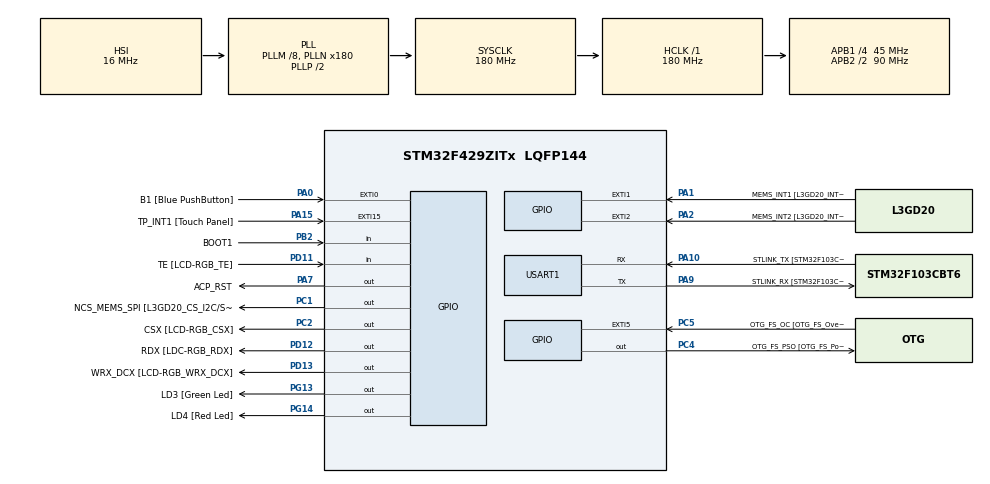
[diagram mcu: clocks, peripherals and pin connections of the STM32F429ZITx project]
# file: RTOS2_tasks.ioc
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FREERTOS.INCLUDE_vTaskDelayUntil=1
FREERTOS.Tasks01=defaultTask,0,128,StartDefaultTask,Default,NULL,Dynamic,NULL,NULL
Mcu.Family=STM32F4
Mcu.Name=STM32F429ZITx
Mcu.Package=LQFP144
NVIC.PriorityGroup=NVIC_PRIORITYGROUP_4
NVIC.TIM6_DAC_IRQn=true\:15\:0\:false\:false\:true\:false\:false\:true\:true
NVIC.TimeBase=TIM6_DAC_IRQn
NVIC.TimeBaseIP=TIM6
PA0/WKUP.GPIO_Label=B1 [Blue PushButton]
PA0/WKUP.GPIO_ModeDefaultEXTI=GPIO_MODE_EVT_RISING
PA0/WKUP.GPIO_PuPd=GPIO_NOPULL
PA0/WKUP.Signal=GPXTI0
PA1.GPIO_Label=MEMS_INT1 [L3GD20_INT1]
PA1.GPIO_ModeDefaultEXTI=GPIO_MODE_EVT_RISING
PA1.GPIO_PuPd=GPIO_NOPULL
PA1.Signal=GPXTI1
PA10.GPIO_Label=STLINK_TX [STM32F103CBT6_PA2]
PA10.Mode=Asynchronous
PA10.Signal=USART1_RX
PA11.GPIO_Label=R4
PA11.GPIO_Mode=GPIO_MODE_AF_PP
PA11.GPIO_PuPd=GPIO_NOPULL
PA11.GPIO_Speed=GPIO_SPEED_FREQ_LOW
PA11.Signal=LTDC_R4
PA12.GPIO_Label=R5
PA12.GPIO_Mode=GPIO_MODE_AF_PP
PA12.GPIO_PuPd=GPIO_NOPULL
PA12.GPIO_Speed=GPIO_SPEED_FREQ_LOW
PA12.Signal=LTDC_R5
PA13.GPIO_Label=SWDIO
PA13.Signal=SYS_JTMS-SWDIO
PA14.GPIO_Label=SWCLK
PA14.Signal=SYS_JTCK-SWCLK
PA15.GPIO_Label=TP_INT1 [Touch Panel]
PA15.GPIO_ModeDefaultEXTI=GPIO_MODE_EVT_RISING
PA15.GPIO_PuPd=GPIO_NOPULL
PA15.Signal=GPXTI15
PA2.GPIO_Label=MEMS_INT2 [L3GD20_INT2]
PA2.GPIO_ModeDefaultEXTI=GPIO_MODE_EVT_RISING
PA2.GPIO_PuPd=GPIO_NOPULL
PA2.Signal=GPXTI2
PA3.GPIO_Label=B5
PA3.GPIO_Mode=GPIO_MODE_AF_PP
PA3.GPIO_PuPd=GPIO_NOPULL
PA3.GPIO_Speed=GPIO_SPEED_FREQ_LOW
PA3.Signal=LTDC_B5
PA4.GPIO_Label=VSYNC
PA4.GPIO_Mode=GPIO_MODE_AF_PP
PA4.GPIO_PuPd=GPIO_NOPULL
PA4.GPIO_Speed=GPIO_SPEED_FREQ_LOW
PA4.Signal=LTDC_VSYNC
PA6.GPIO_Label=G2
PA6.GPIO_Mode=GPIO_MODE_AF_PP
PA6.GPIO_PuPd=GPIO_NOPULL
PA6.GPIO_Speed=GPIO_SPEED_FREQ_LOW
PA6.Signal=LTDC_G2
PA7.GPIO_Label=ACP_RST
PA7.GPIO_Mode=GPIO_MODE_OUTPUT_PP
PA7.GPIO_PuPd=GPIO_NOPULL
PA7.GPIO_Speed=GPIO_SPEED_FREQ_LOW
PA7.Signal=GPIO_Output
PA8.GPIO_Label=I2C3_SCL [ACP/RF_SCL]
PA8.GPIO_Mode=GPIO_MODE_AF_OD
PA8.GPIO_PuPd=GPIO_NOPULL
PA8.GPIO_Speed=GPIO_SPEED_FREQ_LOW
PA8.Signal=I2C3_SCL
PA9.GPIO_Label=STLINK_RX [STM32F103CBT6_PA3]
PA9.Mode=Asynchronous
PA9.Signal=USART1_TX
PB0.GPIO_Label=R3
PB0.GPIO_Mode=GPIO_MODE_AF_PP
PB0.GPIO_PuPd=GPIO_NOPULL
PB0.GPIO_Speed=GPIO_SPEED_FREQ_LOW
PB0.Signal=LTDC_R3
PB1.GPIO_Label=R6
PB1.GPIO_Mode=GPIO_MODE_AF_PP
PB1.GPIO_PuPd=GPIO_NOPULL
PB1.GPIO_Speed=GPIO_SPEED_FREQ_LOW
PB1.Signal=LTDC_R6
PB10.GPIO_Label=G4
PB10.GPIO_Mode=GPIO_MODE_AF_PP
PB10.GPIO_PuPd=GPIO_NOPULL
PB10.GPIO_Speed=GPIO_SPEED_FREQ_LOW
PB10.Signal=LTDC_G4
PB11.GPIO_Label=G5
PB11.GPIO_Mode=GPIO_MODE_AF_PP
PB11.GPIO_PuPd=GPIO_NOPULL
PB11.GPIO_Speed=GPIO_SPEED_FREQ_LOW
PB11.Signal=LTDC_G5
PB12.GPIO_Label=OTG_HS_ID
PB12.GPIO_Mode=GPIO_MODE_AF_PP
PB12.GPIO_PuPd=GPIO_NOPULL
PB12.GPIO_Speed=GPIO_SPEED_FREQ_LOW
PB12.Signal=USB_OTG_HS_ID
PB13.GPIO_Label=VBUS_HS
PB13.GPIO_Mode=GPIO_MODE_INPUT
PB13.GPIO_PuPd=GPIO_NOPULL
PB13.Signal=USB_OTG_HS_VBUS
PB14.GPIO_Label=OTG_HS_DM
PB14.GPIO_Mode=GPIO_MODE_AF_PP
PB14.GPIO_PuPd=GPIO_NOPULL
PB14.GPIO_Speed=GPIO_SPEED_FREQ_LOW
PB14.Signal=USB_OTG_HS_DM
PB15.GPIO_Label=OTG_HS_DP
PB15.GPIO_Mode=GPIO_MODE_AF_PP
PB15.GPIO_PuPd=GPIO_NOPULL
PB15.GPIO_Speed=GPIO_SPEED_FREQ_LOW
PB15.Signal=USB_OTG_HS_DP
PB2/BOOT1.GPIO_Label=BOOT1
PB2/BOOT1.GPIO_Mode=GPIO_MODE_INPUT
PB2/BOOT1.GPIO_PuPd=GPIO_NOPULL
PB2/BOOT1.Signal=GPIO_Input
PB5.GPIO_Label=SDCKE1
PB5.GPIO_Mode=GPIO_MODE_AF_PP
PB5.GPIO_PuPd=GPIO_NOPULL
PB5.GPIO_Speed=GPIO_SPEED_FREQ_VERY_HIGH
PB5.Signal=FMC_SDCKE1
PB6.GPIO_Label=SDNE1 [SDRAM_CS]
PB6.GPIO_Mode=GPIO_MODE_AF_PP
PB6.GPIO_PuPd=GPIO_NOPULL
PB6.GPIO_Speed=GPIO_SPEED_FREQ_VERY_HIGH
PB6.Signal=FMC_SDNE1
PB8.GPIO_Label=B6
PB8.GPIO_Mode=GPIO_MODE_AF_PP
PB8.GPIO_PuPd=GPIO_NOPULL
PB8.GPIO_Speed=GPIO_SPEED_FREQ_LOW
PB8.Signal=LTDC_B6
PB9.GPIO_Label=B7
PB9.GPIO_Mode=GPIO_MODE_AF_PP
PB9.GPIO_PuPd=GPIO_NOPULL
PB9.GPIO_Speed=GPIO_SPEED_FREQ_LOW
PB9.Signal=LTDC_B7
PC0.GPIO_Label=SDNWE
PC0.GPIO_Mode=GPIO_MODE_AF_PP
PC0.GPIO_PuPd=GPIO_NOPULL
PC0.GPIO_Speed=GPIO_SPEED_FREQ_VERY_HIGH
PC0.Signal=FMC_SDNWE
PC1.GPIO_Label=NCS_MEMS_SPI [L3GD20_CS_I2C/SPI]
PC1.GPIO_Mode=GPIO_MODE_OUTPUT_PP
PC1.GPIO_PuPd=GPIO_NOPULL
PC1.GPIO_Speed=GPIO_SPEED_FREQ_LOW
PC1.Signal=GPIO_Output
PC10.GPIO_Label=R2
PC10.GPIO_Mode=GPIO_MODE_AF_PP
PC10.GPIO_PuPd=GPIO_NOPULL
PC10.GPIO_Speed=GPIO_SPEED_FREQ_LOW
PC10.Signal=LTDC_R2
PC14/OSC32_IN.GPIO_Label=PC14-OSC32_IN
PC14/OSC32_IN.Signal=RCC_OSC32_IN
PC15/OSC32_OUT.GPIO_Label=PC15-OSC32_OUT
PC15/OSC32_OUT.Signal=RCC_OSC32_OUT
PC2.GPIO_Label=CSX [LCD-RGB_CSX]
PC2.GPIO_Mode=GPIO_MODE_OUTPUT_PP
PC2.GPIO_PuPd=GPIO_NOPULL
PC2.GPIO_Speed=GPIO_SPEED_FREQ_LOW
PC2.Signal=GPIO_Output
PC4.GPIO_Label=OTG_FS_PSO [OTG_FS_PowerSwitchOn]
PC4.GPIO_Mode=GPIO_MODE_OUTPUT_PP
PC4.GPIO_PuPd=GPIO_NOPULL
PC4.GPIO_Speed=GPIO_SPEED_FREQ_LOW
PC4.Signal=GPIO_Output
PC5.GPIO_Label=OTG_FS_OC [OTG_FS_OverCurrent]
PC5.GPIO_ModeDefaultEXTI=GPIO_MODE_EVT_RISING
PC5.Signal=GPXTI5
PC6.GPIO_Label=HSYNC
PC6.GPIO_Mode=GPIO_MODE_AF_PP
PC6.GPIO_PuPd=GPIO_NOPULL
PC6.GPIO_Speed=GPIO_SPEED_FREQ_LOW
PC6.Signal=LTDC_HSYNC
PC7.GPIO_Label=G6
PC7.GPIO_Mode=GPIO_MODE_AF_PP
PC7.GPIO_PuPd=GPIO_NOPULL
PC7.GPIO_Speed=GPIO_SPEED_FREQ_LOW
PC7.Signal=LTDC_G6
PC9.GPIO_Label=I2C3_SDA [ACP/RF_SDA]
PC9.GPIO_Mode=GPIO_MODE_AF_OD
PC9.GPIO_PuPd=GPIO_NOPULL
PC9.GPIO_Speed=GPIO_SPEED_FREQ_LOW
PC9.Signal=I2C3_SDA
PD0.GPIO_Label=D2
PD0.GPIO_Mode=GPIO_MODE_AF_PP
PD0.GPIO_PuPd=GPIO_NOPULL
PD0.GPIO_Speed=GPIO_SPEED_FREQ_VERY_HIGH
PD0.Signal=FMC_D2_DA2
PD1.GPIO_Label=D3
PD1.GPIO_Mode=GPIO_MODE_AF_PP
PD1.GPIO_PuPd=GPIO_NOPULL
PD1.GPIO_Speed=GPIO_SPEED_FREQ_VERY_HIGH
PD1.Signal=FMC_D3_DA3
PD10.GPIO_Label=D15
PD10.GPIO_Mode=GPIO_MODE_AF_PP
PD10.GPIO_PuPd=GPIO_NOPULL
PD10.GPIO_Speed=GPIO_SPEED_FREQ_VERY_HIGH
PD10.Signal=FMC_D15_DA15
PD11.GPIO_Label=TE [LCD-RGB_TE]
PD11.GPIO_Mode=GPIO_MODE_INPUT
PD11.GPIO_PuPd=GPIO_NOPULL
PD11.Signal=GPIO_Input
PD12.GPIO_Label=RDX [LDC-RGB_RDX]
PD12.GPIO_Mode=GPIO_MODE_OUTPUT_PP
PD12.GPIO_PuPd=GPIO_NOPULL
PD12.GPIO_Speed=GPIO_SPEED_FREQ_LOW
PD12.Signal=GPIO_Output
PD13.GPIO_Label=WRX_DCX [LCD-RGB_WRX_DCX]
PD13.GPIO_Mode=GPIO_MODE_OUTPUT_PP
PD13.GPIO_PuPd=GPIO_NOPULL
PD13.GPIO_Speed=GPIO_SPEED_FREQ_LOW
PD13.Signal=GPIO_Output
PD14.GPIO_Label=D0
PD14.GPIO_Mode=GPIO_MODE_AF_PP
PD14.GPIO_PuPd=GPIO_NOPULL
PD14.GPIO_Speed=GPIO_SPEED_FREQ_VERY_HIGH
PD14.Signal=FMC_D0_DA0
PD15.GPIO_Label=D1
PD15.GPIO_Mode=GPIO_MODE_AF_PP
PD15.GPIO_PuPd=GPIO_NOPULL
PD15.GPIO_Speed=GPIO_SPEED_FREQ_VERY_HIGH
PD15.Signal=FMC_D1_DA1
PD3.GPIO_Label=G7
PD3.GPIO_Mode=GPIO_MODE_AF_PP
PD3.GPIO_PuPd=GPIO_NOPULL
PD3.GPIO_Speed=GPIO_SPEED_FREQ_LOW
PD3.Signal=LTDC_G7
PD6.GPIO_Label=B2
PD6.GPIO_Mode=GPIO_MODE_AF_PP
PD6.GPIO_PuPd=GPIO_NOPULL
PD6.GPIO_Speed=GPIO_SPEED_FREQ_LOW
PD6.Signal=LTDC_B2
PD8.GPIO_Label=D13
PD8.GPIO_Mode=GPIO_MODE_AF_PP
PD8.GPIO_PuPd=GPIO_NOPULL
PD8.GPIO_Speed=GPIO_SPEED_FREQ_VERY_HIGH
PD8.Signal=FMC_D13_DA13
PD9.GPIO_Label=D14
PD9.GPIO_Mode=GPIO_MODE_AF_PP
PD9.GPIO_PuPd=GPIO_NOPULL
PD9.GPIO_Speed=GPIO_SPEED_FREQ_VERY_HIGH
PD9.Signal=FMC_D14_DA14
PE0.GPIO_Label=NBL0 [SDRAM_LDQM]
PE0.GPIO_Mode=GPIO_MODE_AF_PP
PE0.GPIO_PuPd=GPIO_NOPULL
PE0.GPIO_Speed=GPIO_SPEED_FREQ_VERY_HIGH
PE0.Signal=FMC_NBL0
PE1.GPIO_Label=NBL1 [SDRAM_UDQM]
PE1.GPIO_Mode=GPIO_MODE_AF_PP
PE1.GPIO_PuPd=GPIO_NOPULL
PE1.GPIO_Speed=GPIO_SPEED_FREQ_VERY_HIGH
PE1.Signal=FMC_NBL1
PE10.GPIO_Label=D7
PE10.GPIO_Mode=GPIO_MODE_AF_PP
PE10.GPIO_PuPd=GPIO_NOPULL
PE10.GPIO_Speed=GPIO_SPEED_FREQ_VERY_HIGH
PE10.Signal=FMC_D7_DA7
PE11.GPIO_Label=D8
PE11.GPIO_Mode=GPIO_MODE_AF_PP
PE11.GPIO_PuPd=GPIO_NOPULL
PE11.GPIO_Speed=GPIO_SPEED_FREQ_VERY_HIGH
PE11.Signal=FMC_D8_DA8
PE12.GPIO_Label=D9
PE12.GPIO_Mode=GPIO_MODE_AF_PP
PE12.GPIO_PuPd=GPIO_NOPULL
PE12.GPIO_Speed=GPIO_SPEED_FREQ_VERY_HIGH
PE12.Signal=FMC_D9_DA9
PE13.GPIO_Label=D10
PE13.GPIO_Mode=GPIO_MODE_AF_PP
PE13.GPIO_PuPd=GPIO_NOPULL
PE13.GPIO_Speed=GPIO_SPEED_FREQ_VERY_HIGH
PE13.Signal=FMC_D10_DA10
PE14.GPIO_Label=D11
PE14.GPIO_Mode=GPIO_MODE_AF_PP
PE14.GPIO_PuPd=GPIO_NOPULL
PE14.GPIO_Speed=GPIO_SPEED_FREQ_VERY_HIGH
PE14.Signal=FMC_D11_DA11
PE15.GPIO_Label=D12
PE15.GPIO_Mode=GPIO_MODE_AF_PP
PE15.GPIO_PuPd=GPIO_NOPULL
PE15.GPIO_Speed=GPIO_SPEED_FREQ_VERY_HIGH
PE15.Signal=FMC_D12_DA12
PE7.GPIO_Label=D4
PE7.GPIO_Mode=GPIO_MODE_AF_PP
PE7.GPIO_PuPd=GPIO_NOPULL
PE7.GPIO_Speed=GPIO_SPEED_FREQ_VERY_HIGH
PE7.Signal=FMC_D4_DA4
PE8.GPIO_Label=D5
PE8.GPIO_Mode=GPIO_MODE_AF_PP
PE8.GPIO_PuPd=GPIO_NOPULL
PE8.GPIO_Speed=GPIO_SPEED_FREQ_VERY_HIGH
PE8.Signal=FMC_D5_DA5
PE9.GPIO_Label=D6
PE9.GPIO_Mode=GPIO_MODE_AF_PP
PE9.GPIO_PuPd=GPIO_NOPULL
PE9.GPIO_Speed=GPIO_SPEED_FREQ_VERY_HIGH
PE9.Signal=FMC_D6_DA6
PF0.GPIO_Label=A0
PF0.GPIO_Mode=GPIO_MODE_AF_PP
PF0.GPIO_PuPd=GPIO_NOPULL
PF0.GPIO_Speed=GPIO_SPEED_FREQ_VERY_HIGH
PF0.Signal=FMC_A0
PF1.GPIO_Label=A1
PF1.GPIO_Mode=GPIO_MODE_AF_PP
PF1.GPIO_PuPd=GPIO_NOPULL
PF1.GPIO_Speed=GPIO_SPEED_FREQ_VERY_HIGH
PF1.Signal=FMC_A1
PF10.GPIO_Label=ENABLE [LCD-RGB_ENABLE]
PF10.GPIO_Mode=GPIO_MODE_AF_PP
PF10.GPIO_PuPd=GPIO_NOPULL
PF10.GPIO_Speed=GPIO_SPEED_FREQ_LOW
PF10.Signal=LTDC_DE
PF11.GPIO_Label=SDNRAS
PF11.GPIO_Mode=GPIO_MODE_AF_PP
PF11.GPIO_PuPd=GPIO_NOPULL
PF11.GPIO_Speed=GPIO_SPEED_FREQ_VERY_HIGH
PF11.Signal=FMC_SDNRAS
PF12.GPIO_Label=A6
PF12.GPIO_Mode=GPIO_MODE_AF_PP
PF12.GPIO_PuPd=GPIO_NOPULL
PF12.GPIO_Speed=GPIO_SPEED_FREQ_VERY_HIGH
PF12.Signal=FMC_A6
PF13.GPIO_Label=A7
PF13.GPIO_Mode=GPIO_MODE_AF_PP
PF13.GPIO_PuPd=GPIO_NOPULL
PF13.GPIO_Speed=GPIO_SPEED_FREQ_VERY_HIGH
PF13.Signal=FMC_A7
PF14.GPIO_Label=A8
PF14.GPIO_Mode=GPIO_MODE_AF_PP
PF14.GPIO_PuPd=GPIO_NOPULL
PF14.GPIO_Speed=GPIO_SPEED_FREQ_VERY_HIGH
PF14.Signal=FMC_A8
PF15.GPIO_Label=A9
PF15.GPIO_Mode=GPIO_MODE_AF_PP
PF15.GPIO_PuPd=GPIO_NOPULL
PF15.GPIO_Speed=GPIO_SPEED_FREQ_VERY_HIGH
PF15.Signal=FMC_A9
PF2.GPIO_Label=A2
PF2.GPIO_Mode=GPIO_MODE_AF_PP
PF2.GPIO_PuPd=GPIO_NOPULL
PF2.GPIO_Speed=GPIO_SPEED_FREQ_VERY_HIGH
PF2.Signal=FMC_A2
PF3.GPIO_Label=A3
PF3.GPIO_Mode=GPIO_MODE_AF_PP
PF3.GPIO_PuPd=GPIO_NOPULL
PF3.GPIO_Speed=GPIO_SPEED_FREQ_VERY_HIGH
PF3.Signal=FMC_A3
PF4.GPIO_Label=A4
PF4.GPIO_Mode=GPIO_MODE_AF_PP
PF4.GPIO_PuPd=GPIO_NOPULL
PF4.GPIO_Speed=GPIO_SPEED_FREQ_VERY_HIGH
PF4.Signal=FMC_A4
PF5.GPIO_Label=A5
PF5.GPIO_Mode=GPIO_MODE_AF_PP
PF5.GPIO_PuPd=GPIO_NOPULL
PF5.GPIO_Speed=GPIO_SPEED_FREQ_VERY_HIGH
PF5.Signal=FMC_A5
PF7.GPIO_Label=SPI5_SCK [L3GD20_SCL/SPC]
PF7.GPIO_Mode=GPIO_MODE_AF_PP
PF7.GPIO_PuPd=GPIO_NOPULL
PF7.GPIO_Speed=GPIO_SPEED_FREQ_LOW
PF7.Signal=SPI5_SCK
PF8.GPIO_Label=SPI5_MISO [L3GD20_SDO]
PF8.GPIO_Mode=GPIO_MODE_AF_PP
PF8.GPIO_PuPd=GPIO_NOPULL
PF8.GPIO_Speed=GPIO_SPEED_FREQ_LOW
PF8.Signal=SPI5_MISO
PF9.GPIO_Label=SPI5_MOSI [L3GD20_SDA/SDI/SDO]
PF9.GPIO_Mode=GPIO_MODE_AF_PP
PF9.GPIO_PuPd=GPIO_NOPULL
PF9.GPIO_Speed=GPIO_SPEED_FREQ_LOW
PF9.Signal=SPI5_MOSI
PG0.GPIO_Label=A10
PG0.GPIO_Mode=GPIO_MODE_AF_PP
PG0.GPIO_PuPd=GPIO_NOPULL
PG0.GPIO_Speed=GPIO_SPEED_FREQ_VERY_HIGH
PG0.Signal=FMC_A10
PG1.GPIO_Label=A11
PG1.GPIO_Mode=GPIO_MODE_AF_PP
PG1.GPIO_PuPd=GPIO_NOPULL
PG1.GPIO_Speed=GPIO_SPEED_FREQ_VERY_HIGH
PG1.Signal=FMC_A11
PG10.GPIO_Label=G3
PG10.GPIO_Mode=GPIO_MODE_AF_PP
PG10.GPIO_PuPd=GPIO_NOPULL
PG10.GPIO_Speed=GPIO_SPEED_FREQ_LOW
PG10.Signal=LTDC_G3
PG11.GPIO_Label=B3
PG11.GPIO_Mode=GPIO_MODE_AF_PP
PG11.GPIO_PuPd=GPIO_NOPULL
PG11.GPIO_Speed=GPIO_SPEED_FREQ_LOW
PG11.Signal=LTDC_B3
PG12.GPIO_Label=B4
PG12.GPIO_Mode=GPIO_MODE_AF_PP
PG12.GPIO_PuPd=GPIO_NOPULL
PG12.GPIO_Speed=GPIO_SPEED_FREQ_LOW
PG12.Signal=LTDC_B4
PG13.GPIO_Label=LD3 [Green Led]
PG13.GPIO_Mode=GPIO_MODE_OUTPUT_PP
PG13.GPIO_PuPd=GPIO_NOPULL
PG13.GPIO_Speed=GPIO_SPEED_FREQ_LOW
PG13.Signal=GPIO_Output
PG14.GPIO_Label=LD4 [Red Led]
PG14.GPIO_Mode=GPIO_MODE_OUTPUT_PP
PG14.GPIO_PuPd=GPIO_NOPULL
PG14.GPIO_Speed=GPIO_SPEED_FREQ_LOW
PG14.Signal=GPIO_Output
PG15.GPIO_Label=SDNCAS
PG15.GPIO_Mode=GPIO_MODE_AF_PP
PG15.GPIO_PuPd=GPIO_NOPULL
PG15.GPIO_Speed=GPIO_SPEED_FREQ_VERY_HIGH
PG15.Signal=FMC_SDNCAS
PG4.GPIO_Label=BA0
PG4.GPIO_Mode=GPIO_MODE_AF_PP
PG4.GPIO_PuPd=GPIO_NOPULL
PG4.GPIO_Speed=GPIO_SPEED_FREQ_VERY_HIGH
PG4.Signal=FMC_A14_BA0
PG5.GPIO_Label=BA1
PG5.GPIO_Mode=GPIO_MODE_AF_PP
PG5.GPIO_PuPd=GPIO_NOPULL
PG5.GPIO_Speed=GPIO_SPEED_FREQ_VERY_HIGH
PG5.Signal=FMC_A15_BA1
PG6.GPIO_Label=R7
PG6.GPIO_Mode=GPIO_MODE_AF_PP
PG6.GPIO_PuPd=GPIO_NOPULL
PG6.GPIO_Speed=GPIO_SPEED_FREQ_LOW
PG6.Signal=LTDC_R7
PG7.GPIO_Label=DOTCLK [LCT-RGB_DOTCLK]
PG7.GPIO_Mode=GPIO_MODE_AF_PP
PG7.GPIO_PuPd=GPIO_NOPULL
PG7.GPIO_Speed=GPIO_SPEED_FREQ_LOW
PG7.Signal=LTDC_CLK
PG8.GPIO_Label=SDCLK
PG8.GPIO_Mode=GPIO_MODE_AF_PP
PG8.GPIO_PuPd=GPIO_NOPULL
PG8.GPIO_Speed=GPIO_SPEED_FREQ_VERY_HIGH
PG8.Signal=FMC_SDCLK
PH0/OSC_IN.GPIO_Label=PH0-OSC_IN
PH0/OSC_IN.Mode=HSE-External-Oscillator
PH0/OSC_IN.Signal=RCC_OSC_IN
PH1/OSC_OUT.GPIO_Label=PH1-OSC_OUT
PH1/OSC_OUT.Mode=HSE-External-Oscillator
PH1/OSC_OUT.Signal=RCC_OSC_OUT
ProjectManager.HeapSize=0x200
ProjectManager.StackSize=0x400
ProjectManager.TargetToolchain=STM32CubeIDE
RCC.48MHZClocksFreq_Value=51428571.428571425
RCC.AHBFreq_Value=180000000
RCC.APB1CLKDivider=RCC_HCLK_DIV4
RCC.APB1Freq_Value=45000000
RCC.APB1TimFreq_Value=90000000
RCC.APB2CLKDivider=RCC_HCLK_DIV2
RCC.APB2Freq_Value=90000000
RCC.APB2TimFreq_Value=180000000
RCC.CortexFreq_Value=180000000
RCC.HCLKFreq_Value=180000000
RCC.HSE_VALUE=8000000
RCC.HSI_VALUE=16000000
RCC.LSE_VALUE=32768
RCC.PLLM=8
RCC.PLLN=180
RCC.PLLQ=7
RCC.SYSCLKFreq_VALUE=180000000
RCC.SYSCLKSource=RCC_SYSCLKSOURCE_PLLCLK
RCC.VCOOutputFreq_Value=360000000
SH.FMC_A0.0=FMC_A0
SH.FMC_A1.0=FMC_A1
SH.FMC_A10.0=FMC_A10
SH.FMC_A11.0=FMC_A11
SH.FMC_A14_BA0.0=FMC_BA0
SH.FMC_A15_BA1.0=FMC_BA1
SH.FMC_A2.0=FMC_A2
SH.FMC_A3.0=FMC_A3
SH.FMC_A4.0=FMC_A4
SH.FMC_A5.0=FMC_A5
SH.FMC_A6.0=FMC_A6
SH.FMC_A7.0=FMC_A7
SH.FMC_A8.0=FMC_A8
SH.FMC_A9.0=FMC_A9
SH.FMC_D0_DA0.0=FMC_D0
SH.FMC_D10_DA10.0=FMC_D10
SH.FMC_D11_DA11.0=FMC_D11
SH.FMC_D12_DA12.0=FMC_D12
SH.FMC_D13_DA13.0=FMC_D13
SH.FMC_D14_DA14.0=FMC_D14
SH.FMC_D15_DA15.0=FMC_D15
SH.FMC_D1_DA1.0=FMC_D1
SH.FMC_D2_DA2.0=FMC_D2
SH.FMC_D3_DA3.0=FMC_D3
SH.FMC_D4_DA4.0=FMC_D4
SH.FMC_D5_DA5.0=FMC_D5
SH.FMC_D6_DA6.0=FMC_D6
SH.FMC_D7_DA7.0=FMC_D7
SH.FMC_D8_DA8.0=FMC_D8
SH.FMC_D9_DA9.0=FMC_D9
SH.FMC_NBL0.0=FMC_NBL0
SH.FMC_NBL1.0=FMC_NBL1
SH.FMC_SDCLK.0=FMC_SDCLK
SH.FMC_SDNCAS.0=FMC_SDNCAS
SH.FMC_SDNRAS.0=FMC_SDNRAS
SH.FMC_SDNWE.0=FMC_SDNWE
USART1.VirtualMode=VM_ASYNC
VP_FREERTOS_VS_CMSIS_V1.Mode=CMSIS_V1
VP_SYS_VS_tim6.Mode=TIM6
board=STM32F429I-DISC1

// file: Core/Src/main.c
/* USER CODE BEGIN Header */
/**
  ******************************************************************************
  * @file           : main.c
  * @brief          : Main program body
  ******************************************************************************
  * @attention
  *
  * Copyright (c) 2024 STMicroelectronics.
  * All rights reserved.
  *
  * This software is licensed under terms that can be found in the LICENSE file
  * in the root directory of this software component.
  * If no LICENSE file comes with this software, it is provided AS-IS.
  *
  ******************************************************************************
  */
/* USER CODE END Header */
#include "main.h"
#include "cmsis_os.h"
#include "stdio.h"

UART_HandleTypeDef huart1;

osThreadId defaultTaskHandle;

void SystemClock_Config(void);
static void MX_GPIO_Init(void);
static void MX_USART1_UART_Init(void);
void StartDefaultTask(void const * argument);

/* USER CODE BEGIN PFP */
#ifdef __GNUC__
#define PUTCHAR_PROTOTYPE int __io_putchar(int ch)
#else
#define PUTCHAR_PROTOTYPE int fputc(int ch, FILE *f)
#endif

PUTCHAR_PROTOTYPE
{
  HAL_UART_Transmit(&huart1, (uint8_t *)&ch, 1, HAL_MAX_DELAY);
  return ch;
}
/* USER CODE END PFP */

/* USER CODE BEGIN 0 */
//int _write(int file, char *ptr, int len)
//{
//	int i = 0;
//	for(i =0; i<len; i++)
//		ITM_SendChar((*ptr++));
//	return len;
//}

uint8_t index = 0;
// define task handler

osThreadId Task2handler;

// entry function

void task2_init (void const * argument);

/* USER CODE END 0 */

int main(void)
{

  /* MCU Configuration--------------------------------------------------------*/

  /* Reset of all peripherals, Initializes the Flash interface and the Systick. */
  HAL_Init();

  /* Configure the system clock */
  SystemClock_Config();

  /* Initialize all configured peripherals */
  MX_GPIO_Init();
  MX_USART1_UART_Init();
  /* USER CODE BEGIN 2 */
//
  printf("Starting....\n \r");

  /* USER CODE END 2 */

  /* Create the thread(s) */
  /* definition and creation of defaultTask */
  osThreadDef(defaultTask, StartDefaultTask, osPriorityNormal, 0, 128);
  defaultTaskHandle = osThreadCreate(osThread(defaultTask), NULL);

  /* USER CODE BEGIN RTOS_THREADS */
  /* add threads, ... */

  osThreadDef(Task2, task2_init, osPriorityAboveNormal,0,128);

  //create thread and ID

  Task2handler = osThreadCreate(osThread(Task2), NULL);
  /* USER CODE END RTOS_THREADS */
  /* Start scheduler */
  osKernelStart();

  /* We should never get here as control is now taken by the scheduler */

  /* Infinite loop */
  while (1)
  {

  }
}

void SystemClock_Config(void)
{
  RCC_OscInitTypeDef RCC_OscInitStruct = {0};
  RCC_ClkInitTypeDef RCC_ClkInitStruct = {0};

  /** Configure the main internal regulator output voltage
  */
  __HAL_RCC_PWR_CLK_ENABLE();
  __HAL_PWR_VOLTAGESCALING_CONFIG(PWR_REGULATOR_VOLTAGE_SCALE1);

  /** Initializes the RCC Oscillators according to the specified parameters
  * in the RCC_OscInitTypeDef structure.
  */
  RCC_OscInitStruct.OscillatorType = RCC_OSCILLATORTYPE_HSI;
  RCC_OscInitStruct.HSIState = RCC_HSI_ON;
  RCC_OscInitStruct.HSICalibrationValue = RCC_HSICALIBRATION_DEFAULT;
  RCC_OscInitStruct.PLL.PLLState = RCC_PLL_ON;
  RCC_OscInitStruct.PLL.PLLSource = RCC_PLLSOURCE_HSI;
  RCC_OscInitStruct.PLL.PLLM = 8;
  RCC_OscInitStruct.PLL.PLLN = 180;
  RCC_OscInitStruct.PLL.PLLP = RCC_PLLP_DIV2;
  RCC_OscInitStruct.PLL.PLLQ = 7;
  if (HAL_RCC_OscConfig(&RCC_OscInitStruct) != HAL_OK)
  {
    Error_Handler();
  }

  /** Activate the Over-Drive mode
  */
  if (HAL_PWREx_EnableOverDrive() != HAL_OK)
  {
    Error_Handler();
  }

  /** Initializes the CPU, AHB and APB buses clocks
  */
  RCC_ClkInitStruct.ClockType = RCC_CLOCKTYPE_HCLK|RCC_CLOCKTYPE_SYSCLK
                              |RCC_CLOCKTYPE_PCLK1|RCC_CLOCKTYPE_PCLK2;
  RCC_ClkInitStruct.SYSCLKSource = RCC_SYSCLKSOURCE_PLLCLK;
  RCC_ClkInitStruct.AHBCLKDivider = RCC_SYSCLK_DIV1;
  RCC_ClkInitStruct.APB1CLKDivider = RCC_HCLK_DIV4;
  RCC_ClkInitStruct.APB2CLKDivider = RCC_HCLK_DIV2;

  if (HAL_RCC_ClockConfig(&RCC_ClkInitStruct, FLASH_LATENCY_5) != HAL_OK)
  {
    Error_Handler();
  }
}

static void MX_USART1_UART_Init(void)
{

  huart1.Instance = USART1;
  huart1.Init.BaudRate = 115200;
  huart1.Init.WordLength = UART_WORDLENGTH_8B;
  huart1.Init.StopBits = UART_STOPBITS_1;
  huart1.Init.Parity = UART_PARITY_NONE;
  huart1.Init.Mode = UART_MODE_TX_RX;
  huart1.Init.HwFlowCtl = UART_HWCONTROL_NONE;
  huart1.Init.OverSampling = UART_OVERSAMPLING_16;
  if (HAL_UART_Init(&huart1) != HAL_OK)
  {
    Error_Handler();
  }

}

static void MX_GPIO_Init(void)
{
  GPIO_InitTypeDef GPIO_InitStruct = {0};

  /* GPIO Ports Clock Enable */
  __HAL_RCC_GPIOC_CLK_ENABLE();
  __HAL_RCC_GPIOF_CLK_ENABLE();
  __HAL_RCC_GPIOH_CLK_ENABLE();
  __HAL_RCC_GPIOA_CLK_ENABLE();
  __HAL_RCC_GPIOB_CLK_ENABLE();
  __HAL_RCC_GPIOG_CLK_ENABLE();
  __HAL_RCC_GPIOE_CLK_ENABLE();
  __HAL_RCC_GPIOD_CLK_ENABLE();

  /*Configure GPIO pin Output Level */
  HAL_GPIO_WritePin(GPIOC, NCS_MEMS_SPI_Pin|CSX_Pin|OTG_FS_PSO_Pin, GPIO_PIN_RESET);

  /*Configure GPIO pin Output Level */
  HAL_GPIO_WritePin(ACP_RST_GPIO_Port, ACP_RST_Pin, GPIO_PIN_RESET);

  /*Configure GPIO pin Output Level */
  HAL_GPIO_WritePin(GPIOD, RDX_Pin|WRX_DCX_Pin, GPIO_PIN_RESET);

  /*Configure GPIO pin Output Level */
  HAL_GPIO_WritePin(GPIOG, LD3_Pin|LD4_Pin, GPIO_PIN_RESET);

  /*Configure GPIO pins : A0_Pin A1_Pin A2_Pin A3_Pin
                           A4_Pin A5_Pin SDNRAS_Pin A6_Pin
                           A7_Pin A8_Pin A9_Pin */
  GPIO_InitStruct.Pin = A0_Pin|A1_Pin|A2_Pin|A3_Pin
                          |A4_Pin|A5_Pin|SDNRAS_Pin|A6_Pin
                          |A7_Pin|A8_Pin|A9_Pin;
  GPIO_InitStruct.Mode = GPIO_MODE_AF_PP;
  GPIO_InitStruct.Pull = GPIO_NOPULL;
  GPIO_InitStruct.Speed = GPIO_SPEED_FREQ_VERY_HIGH;
  GPIO_InitStruct.Alternate = GPIO_AF12_FMC;
  HAL_GPIO_Init(GPIOF, &GPIO_InitStruct);

  /*Configure GPIO pins : SPI5_SCK_Pin SPI5_MISO_Pin SPI5_MOSI_Pin */
  GPIO_InitStruct.Pin = SPI5_SCK_Pin|SPI5_MISO_Pin|SPI5_MOSI_Pin;
  GPIO_InitStruct.Mode = GPIO_MODE_AF_PP;
  GPIO_InitStruct.Pull = GPIO_NOPULL;
  GPIO_InitStruct.Speed = GPIO_SPEED_FREQ_LOW;
  GPIO_InitStruct.Alternate = GPIO_AF5_SPI5;
  HAL_GPIO_Init(GPIOF, &GPIO_InitStruct);

  /*Configure GPIO pin : ENABLE_Pin */
  GPIO_InitStruct.Pin = ENABLE_Pin;
  GPIO_InitStruct.Mode = GPIO_MODE_AF_PP;
  GPIO_InitStruct.Pull = GPIO_NOPULL;
  GPIO_InitStruct.Speed = GPIO_SPEED_FREQ_LOW;
  GPIO_InitStruct.Alternate = GPIO_AF14_LTDC;
  HAL_GPIO_Init(ENABLE_GPIO_Port, &GPIO_InitStruct);

  /*Configure GPIO pin : SDNWE_Pin */
  GPIO_InitStruct.Pin = SDNWE_Pin;
  GPIO_InitStruct.Mode = GPIO_MODE_AF_PP;
  GPIO_InitStruct.Pull = GPIO_NOPULL;
  GPIO_InitStruct.Speed = GPIO_SPEED_FREQ_VERY_HIGH;
  GPIO_InitStruct.Alternate = GPIO_AF12_FMC;
  HAL_GPIO_Init(SDNWE_GPIO_Port, &GPIO_InitStruct);

  /*Configure GPIO pins : NCS_MEMS_SPI_Pin CSX_Pin OTG_FS_PSO_Pin */
  GPIO_InitStruct.Pin = NCS_MEMS_SPI_Pin|CSX_Pin|OTG_FS_PSO_Pin;
  GPIO_InitStruct.Mode = GPIO_MODE_OUTPUT_PP;
  GPIO_InitStruct.Pull = GPIO_NOPULL;
  GPIO_InitStruct.Speed = GPIO_SPEED_FREQ_LOW;
  HAL_GPIO_Init(GPIOC, &GPIO_InitStruct);

  /*Configure GPIO pins : B1_Pin MEMS_INT1_Pin MEMS_INT2_Pin TP_INT1_Pin */
  GPIO_InitStruct.Pin = B1_Pin|MEMS_INT1_Pin|MEMS_INT2_Pin|TP_INT1_Pin;
  GPIO_InitStruct.Mode = GPIO_MODE_EVT_RISING;
  GPIO_InitStruct.Pull = GPIO_NOPULL;
  HAL_GPIO_Init(GPIOA, &GPIO_InitStruct);

  /*Configure GPIO pins : B5_Pin VSYNC_Pin G2_Pin R4_Pin
                           R5_Pin */
  GPIO_InitStruct.Pin = B5_Pin|VSYNC_Pin|G2_Pin|R4_Pin
                          |R5_Pin;
  GPIO_InitStruct.Mode = GPIO_MODE_AF_PP;
  GPIO_InitStruct.Pull = GPIO_NOPULL;
  GPIO_InitStruct.Speed = GPIO_SPEED_FREQ_LOW;
  GPIO_InitStruct.Alternate = GPIO_AF14_LTDC;
  HAL_GPIO_Init(GPIOA, &GPIO_InitStruct);

  /*Configure GPIO pin : ACP_RST_Pin */
  GPIO_InitStruct.Pin = ACP_RST_Pin;
  GPIO_InitStruct.Mode = GPIO_MODE_OUTPUT_PP;
  GPIO_InitStruct.Pull = GPIO_NOPULL;
  GPIO_InitStruct.Speed = GPIO_SPEED_FREQ_LOW;
  HAL_GPIO_Init(ACP_RST_GPIO_Port, &GPIO_InitStruct);

  /*Configure GPIO pin : OTG_FS_OC_Pin */
  GPIO_InitStruct.Pin = OTG_FS_OC_Pin;
  GPIO_InitStruct.Mode = GPIO_MODE_EVT_RISING;
  GPIO_InitStruct.Pull = GPIO_NOPULL;
  HAL_GPIO_Init(OTG_FS_OC_GPIO_Port, &GPIO_InitStruct);

  /*Configure GPIO pins : R3_Pin R6_Pin */
  GPIO_InitStruct.Pin = R3_Pin|R6_Pin;
  GPIO_InitStruct.Mode = GPIO_MODE_AF_PP;
  GPIO_InitStruct.Pull = GPIO_NOPULL;
  GPIO_InitStruct.Speed = GPIO_SPEED_FREQ_LOW;
  GPIO_InitStruct.Alternate = GPIO_AF9_LTDC;
  HAL_GPIO_Init(GPIOB, &GPIO_InitStruct);

  /*Configure GPIO pin : BOOT1_Pin */
  GPIO_InitStruct.Pin = BOOT1_Pin;
  GPIO_InitStruct.Mode = GPIO_MODE_INPUT;
  GPIO_InitStruct.Pull = GPIO_NOPULL;
  HAL_GPIO_Init(BOOT1_GPIO_Port, &GPIO_InitStruct);

  /*Configure GPIO pins : A10_Pin A11_Pin BA0_Pin BA1_Pin
                           SDCLK_Pin SDNCAS_Pin */
  GPIO_InitStruct.Pin = A10_Pin|A11_Pin|BA0_Pin|BA1_Pin
                          |SDCLK_Pin|SDNCAS_Pin;
  GPIO_InitStruct.Mode = GPIO_MODE_AF_PP;
  GPIO_InitStruct.Pull = GPIO_NOPULL;
  GPIO_InitStruct.Speed = GPIO_SPEED_FREQ_VERY_HIGH;
  GPIO_InitStruct.Alternate = GPIO_AF12_FMC;
  HAL_GPIO_Init(GPIOG, &GPIO_InitStruct);

  /*Configure GPIO pins : D4_Pin D5_Pin D6_Pin D7_Pin
                           D8_Pin D9_Pin D10_Pin D11_Pin
                           D12_Pin NBL0_Pin NBL1_Pin */
  GPIO_InitStruct.Pin = D4_Pin|D5_Pin|D6_Pin|D7_Pin
                          |D8_Pin|D9_Pin|D10_Pin|D11_Pin
                          |D12_Pin|NBL0_Pin|NBL1_Pin;
  GPIO_InitStruct.Mode = GPIO_MODE_AF_PP;
  GPIO_InitStruct.Pull = GPIO_NOPULL;
  GPIO_InitStruct.Speed = GPIO_SPEED_FREQ_VERY_HIGH;
  GPIO_InitStruct.Alternate = GPIO_AF12_FMC;
  HAL_GPIO_Init(GPIOE, &GPIO_InitStruct);

  /*Configure GPIO pins : G4_Pin G5_Pin B6_Pin B7_Pin */
  GPIO_InitStruct.Pin = G4_Pin|G5_Pin|B6_Pin|B7_Pin;
  GPIO_InitStruct.Mode = GPIO_MODE_AF_PP;
  GPIO_InitStruct.Pull = GPIO_NOPULL;
  GPIO_InitStruct.Speed = GPIO_SPEED_FREQ_LOW;
  GPIO_InitStruct.Alternate = GPIO_AF14_LTDC;
  HAL_GPIO_Init(GPIOB, &GPIO_InitStruct);

  /*Configure GPIO pins : OTG_HS_ID_Pin OTG_HS_DM_Pin OTG_HS_DP_Pin */
  GPIO_InitStruct.Pin = OTG_HS_ID_Pin|OTG_HS_DM_Pin|OTG_HS_DP_Pin;
  GPIO_InitStruct.Mode = GPIO_MODE_AF_PP;
  GPIO_InitStruct.Pull = GPIO_NOPULL;
  GPIO_InitStruct.Speed = GPIO_SPEED_FREQ_LOW;
  GPIO_InitStruct.Alternate = GPIO_AF12_OTG_HS_FS;
  HAL_GPIO_Init(GPIOB, &GPIO_InitStruct);

  /*Configure GPIO pin : VBUS_HS_Pin */
  GPIO_InitStruct.Pin = VBUS_HS_Pin;
  GPIO_InitStruct.Mode = GPIO_MODE_INPUT;
  GPIO_InitStruct.Pull = GPIO_NOPULL;
  HAL_GPIO_Init(VBUS_HS_GPIO_Port, &GPIO_InitStruct);

  /*Configure GPIO pins : D13_Pin D14_Pin D15_Pin D0_Pin
                           D1_Pin D2_Pin D3_Pin */
  GPIO_InitStruct.Pin = D13_Pin|D14_Pin|D15_Pin|D0_Pin
                          |D1_Pin|D2_Pin|D3_Pin;
  GPIO_InitStruct.Mode = GPIO_MODE_AF_PP;
  GPIO_InitStruct.Pull = GPIO_NOPULL;
  GPIO_InitStruct.Speed = GPIO_SPEED_FREQ_VERY_HIGH;
  GPIO_InitStruct.Alternate = GPIO_AF12_FMC;
  HAL_GPIO_Init(GPIOD, &GPIO_InitStruct);

  /*Configure GPIO pin : TE_Pin */
  GPIO_InitStruct.Pin = TE_Pin;
  GPIO_InitStruct.Mode = GPIO_MODE_INPUT;
  GPIO_InitStruct.Pull = GPIO_NOPULL;
  HAL_GPIO_Init(TE_GPIO_Port, &GPIO_InitStruct);

  /*Configure GPIO pins : RDX_Pin WRX_DCX_Pin */
  GPIO_InitStruct.Pin = RDX_Pin|WRX_DCX_Pin;
  GPIO_InitStruct.Mode = GPIO_MODE_OUTPUT_PP;
  GPIO_InitStruct.Pull = GPIO_NOPULL;
  GPIO_InitStruct.Speed = GPIO_SPEED_FREQ_LOW;
  HAL_GPIO_Init(GPIOD, &GPIO_InitStruct);

  /*Configure GPIO pins : R7_Pin DOTCLK_Pin B3_Pin */
  GPIO_InitStruct.Pin = R7_Pin|DOTCLK_Pin|B3_Pin;
  GPIO_InitStruct.Mode = GPIO_MODE_AF_PP;
  GPIO_InitStruct.Pull = GPIO_NOPULL;
  GPIO_InitStruct.Speed = GPIO_SPEED_FREQ_LOW;
  GPIO_InitStruct.Alternate = GPIO_AF14_LTDC;
  HAL_GPIO_Init(GPIOG, &GPIO_InitStruct);

  /*Configure GPIO pins : HSYNC_Pin G6_Pin R2_Pin */
  GPIO_InitStruct.Pin = HSYNC_Pin|G6_Pin|R2_Pin;
  GPIO_InitStruct.Mode = GPIO_MODE_AF_PP;
  GPIO_InitStruct.Pull = GPIO_NOPULL;
  GPIO_InitStruct.Speed = GPIO_SPEED_FREQ_LOW;
  GPIO_InitStruct.Alternate = GPIO_AF14_LTDC;
  HAL_GPIO_Init(GPIOC, &GPIO_InitStruct);

  /*Configure GPIO pin : I2C3_SDA_Pin */
  GPIO_InitStruct.Pin = I2C3_SDA_Pin;
  GPIO_InitStruct.Mode = GPIO_MODE_AF_OD;
  GPIO_InitStruct.Pull = GPIO_NOPULL;
  GPIO_InitStruct.Speed = GPIO_SPEED_FREQ_LOW;
  GPIO_InitStruct.Alternate = GPIO_AF4_I2C3;
  HAL_GPIO_Init(I2C3_SDA_GPIO_Port, &GPIO_InitStruct);

  /*Configure GPIO pin : I2C3_SCL_Pin */
  GPIO_InitStruct.Pin = I2C3_SCL_Pin;
  GPIO_InitStruct.Mode = GPIO_MODE_AF_OD;
  GPIO_InitStruct.Pull = GPIO_NOPULL;
  GPIO_InitStruct.Speed = GPIO_SPEED_FREQ_LOW;
  GPIO_InitStruct.Alternate = GPIO_AF4_I2C3;
  HAL_GPIO_Init(I2C3_SCL_GPIO_Port, &GPIO_InitStruct);

  /*Configure GPIO pins : G7_Pin B2_Pin */
  GPIO_InitStruct.Pin = G7_Pin|B2_Pin;
  GPIO_InitStruct.Mode = GPIO_MODE_AF_PP;
  GPIO_InitStruct.Pull = GPIO_NOPULL;
  GPIO_InitStruct.Speed = GPIO_SPEED_FREQ_LOW;
  GPIO_InitStruct.Alternate = GPIO_AF14_LTDC;
  HAL_GPIO_Init(GPIOD, &GPIO_InitStruct);

  /*Configure GPIO pins : G3_Pin B4_Pin */
  GPIO_InitStruct.Pin = G3_Pin|B4_Pin;
  GPIO_InitStruct.Mode = GPIO_MODE_AF_PP;
  GPIO_InitStruct.Pull = GPIO_NOPULL;
  GPIO_InitStruct.Speed = GPIO_SPEED_FREQ_LOW;
  GPIO_InitStruct.Alternate = GPIO_AF9_LTDC;
  HAL_GPIO_Init(GPIOG, &GPIO_InitStruct);

  /*Configure GPIO pins : LD3_Pin LD4_Pin */
  GPIO_InitStruct.Pin = LD3_Pin|LD4_Pin;
  GPIO_InitStruct.Mode = GPIO_MODE_OUTPUT_PP;
  GPIO_InitStruct.Pull = GPIO_NOPULL;
  GPIO_InitStruct.Speed = GPIO_SPEED_FREQ_LOW;
  HAL_GPIO_Init(GPIOG, &GPIO_InitStruct);

  /*Configure GPIO pins : SDCKE1_Pin SDNE1_Pin */
  GPIO_InitStruct.Pin = SDCKE1_Pin|SDNE1_Pin;
  GPIO_InitStruct.Mode = GPIO_MODE_AF_PP;
  GPIO_InitStruct.Pull = GPIO_NOPULL;
  GPIO_InitStruct.Speed = GPIO_SPEED_FREQ_VERY_HIGH;
  GPIO_InitStruct.Alternate = GPIO_AF12_FMC;
  HAL_GPIO_Init(GPIOB, &GPIO_InitStruct);

}

void StartDefaultTask(void const * argument)
{
  /* USER CODE BEGIN 5 */
  /* Infinite loop */
  for(;;)
  {
	printf ("DefaultTask \n\r");
    osDelay(1000);
  }
  /* USER CODE END 5 */
}

void task2_init (void const * argument)
{
 while (1)
  {
   printf ("Task2 = %d\n \r", index++);
   osDelay(2000);

   if (index==4)
   {
	   printf ("suspending DefaultTask\n \r");
	   osThreadSuspend(defaultTaskHandle);
   }

   if (index ==7)
   {
	   printf ("Resuming DefaultTask\n\r");
	   osThreadResume(defaultTaskHandle);
   }
  }
}

void HAL_TIM_PeriodElapsedCallback(TIM_HandleTypeDef *htim)
{
  if (htim->Instance == TIM6) {
    HAL_IncTick();
  }
}

void Error_Handler(void)
{
  __disable_irq();
  while (1)
  {
  }
}
